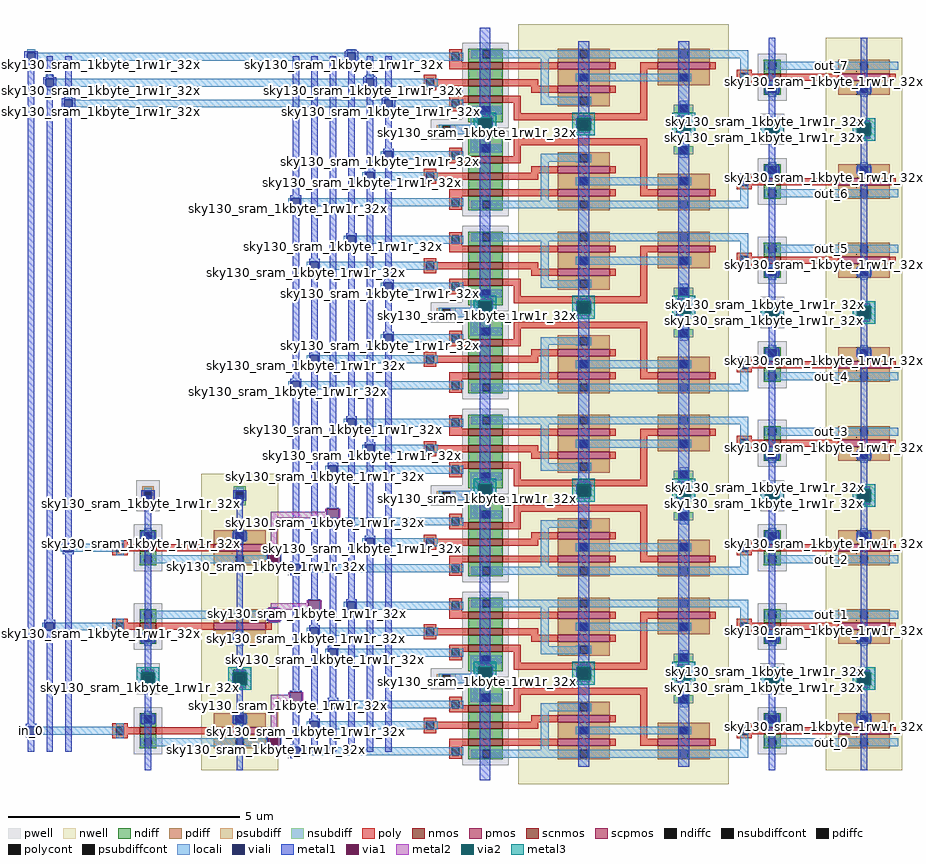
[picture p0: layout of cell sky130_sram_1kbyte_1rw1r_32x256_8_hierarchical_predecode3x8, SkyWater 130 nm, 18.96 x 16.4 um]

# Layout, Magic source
magic
tech sky130A
magscale 1 2
<< locali >>
rect 77 3096 111 3112
rect 1459 3096 1493 3112
rect 111 3062 1459 3096
rect 1493 3062 1942 3096
rect 77 3046 111 3062
rect 1459 3046 1493 3062
rect 3259 3023 3836 3057
rect 157 2984 191 3000
rect 1539 2984 1573 3000
rect 191 2950 1539 2984
rect 1573 2950 1832 2984
rect 157 2934 191 2950
rect 1539 2934 1573 2950
rect 237 2894 271 2910
rect 1619 2894 1653 2910
rect 271 2860 1619 2894
rect 1653 2860 1942 2894
rect 237 2844 271 2860
rect 1619 2844 1653 2860
rect 1603 2636 1619 2670
rect 1653 2636 1942 2670
rect 1523 2546 1539 2580
rect 1573 2546 1832 2580
rect 3259 2473 3836 2507
rect 1203 2434 1219 2468
rect 1253 2434 1942 2468
rect 1443 2272 1459 2306
rect 1493 2272 1942 2306
rect 3259 2233 3836 2267
rect 1283 2160 1299 2194
rect 1333 2160 1832 2194
rect 1603 2070 1619 2104
rect 1653 2070 1942 2104
rect 1603 1846 1619 1880
rect 1653 1846 1942 1880
rect 1283 1756 1299 1790
rect 1333 1756 1832 1790
rect 3259 1683 3836 1717
rect 1203 1644 1219 1678
rect 1253 1644 1942 1678
rect 1443 1482 1459 1516
rect 1493 1482 1942 1516
rect 3259 1443 3836 1477
rect 1523 1370 1539 1404
rect 1573 1370 1832 1404
rect 1363 1280 1379 1314
rect 1413 1280 1942 1314
rect 1363 1056 1379 1090
rect 1413 1056 1942 1090
rect 221 943 237 977
rect 271 943 494 977
rect 1523 966 1539 1000
rect 1573 966 1832 1000
rect 1125 927 1159 943
rect 3259 893 3836 927
rect 1125 877 1159 893
rect 1203 854 1219 888
rect 1253 854 1942 888
rect 1125 687 1159 703
rect 1443 692 1459 726
rect 1493 692 1942 726
rect 3259 653 3836 687
rect 1125 637 1159 653
rect 141 603 157 637
rect 191 603 494 637
rect 1283 580 1299 614
rect 1333 580 1832 614
rect 1363 490 1379 524
rect 1413 490 1942 524
rect 1363 266 1379 300
rect 1413 266 1942 300
rect 61 153 77 187
rect 111 153 494 187
rect 1283 176 1299 210
rect 1333 176 1832 210
rect 1125 137 1159 153
rect 3259 103 3836 137
rect 1125 87 1159 103
rect 1203 64 1219 98
rect 1253 64 1942 98
<< viali >>
rect 77 3062 111 3096
rect 1459 3062 1493 3096
rect 157 2950 191 2984
rect 1539 2950 1573 2984
rect 237 2860 271 2894
rect 1619 2860 1653 2894
rect 1619 2636 1653 2670
rect 1539 2546 1573 2580
rect 1219 2434 1253 2468
rect 1459 2272 1493 2306
rect 1299 2160 1333 2194
rect 1619 2070 1653 2104
rect 1619 1846 1653 1880
rect 1299 1756 1333 1790
rect 1219 1644 1253 1678
rect 1459 1482 1493 1516
rect 1539 1370 1573 1404
rect 1379 1280 1413 1314
rect 1379 1056 1413 1090
rect 237 943 271 977
rect 1539 966 1573 1000
rect 1125 893 1159 927
rect 1219 854 1253 888
rect 1459 692 1493 726
rect 1125 653 1159 687
rect 157 603 191 637
rect 1299 580 1333 614
rect 1379 490 1413 524
rect 1379 266 1413 300
rect 77 153 111 187
rect 1299 176 1333 210
rect 1125 103 1159 137
rect 1219 64 1253 98
<< metal1 >>
rect 1453 3102 1499 3108
rect 65 3096 123 3102
rect 65 3062 77 3096
rect 111 3062 123 3096
rect 1447 3096 1505 3102
rect 65 3056 123 3062
rect 80 199 108 3056
rect 160 2990 188 3080
rect 145 2984 203 2990
rect 145 2950 157 2984
rect 191 2950 203 2984
rect 145 2944 203 2950
rect 160 649 188 2944
rect 240 2900 268 3080
rect 225 2894 283 2900
rect 225 2860 237 2894
rect 271 2860 283 2894
rect 225 2854 283 2860
rect 240 989 268 2854
rect 1222 2480 1250 3080
rect 1213 2468 1259 2480
rect 1213 2434 1219 2468
rect 1253 2434 1259 2468
rect 1213 2422 1259 2434
rect 1222 1690 1250 2422
rect 1302 2206 1330 3080
rect 1293 2194 1339 2206
rect 1293 2160 1299 2194
rect 1333 2160 1339 2194
rect 1293 2148 1339 2160
rect 1302 1802 1330 2148
rect 1293 1790 1339 1802
rect 1293 1756 1299 1790
rect 1333 1756 1339 1790
rect 1293 1744 1339 1756
rect 1213 1678 1259 1690
rect 1213 1644 1219 1678
rect 1253 1644 1259 1678
rect 1213 1632 1259 1644
rect 231 977 277 989
rect 231 943 237 977
rect 271 943 277 977
rect 231 931 277 943
rect 151 637 197 649
rect 151 603 157 637
rect 191 603 197 637
rect 151 591 197 603
rect 71 187 117 199
rect 71 153 77 187
rect 111 153 117 187
rect 71 141 117 153
rect 80 80 108 141
rect 160 80 188 591
rect 240 80 268 931
rect 584 421 612 1185
rect 980 421 1008 1185
rect 1110 884 1116 936
rect 1168 884 1174 936
rect 1222 900 1250 1632
rect 1213 888 1259 900
rect 1213 854 1219 888
rect 1253 854 1259 888
rect 1213 842 1259 854
rect 1110 644 1116 696
rect 1168 644 1174 696
rect 566 369 572 421
rect 624 369 630 421
rect 962 369 968 421
rect 1020 369 1026 421
rect 584 80 612 369
rect 980 80 1008 369
rect 1222 343 1250 842
rect 1302 738 1330 1744
rect 1382 1326 1410 3080
rect 1447 3062 1459 3096
rect 1493 3062 1505 3096
rect 1447 3056 1505 3062
rect 1453 3050 1499 3056
rect 1462 2318 1490 3050
rect 1542 2996 1570 3080
rect 1533 2990 1579 2996
rect 1527 2984 1585 2990
rect 1527 2950 1539 2984
rect 1573 2950 1585 2984
rect 1527 2944 1585 2950
rect 1533 2938 1579 2944
rect 1542 2592 1570 2938
rect 1622 2906 1650 3080
rect 1613 2900 1659 2906
rect 1607 2894 1665 2900
rect 1607 2860 1619 2894
rect 1653 2860 1665 2894
rect 1607 2854 1665 2860
rect 1613 2848 1659 2854
rect 1622 2682 1650 2848
rect 2030 2814 2076 3204
rect 2454 2814 2502 3146
rect 2886 2814 2934 3146
rect 2021 2762 2027 2814
rect 2079 2762 2085 2814
rect 2446 2762 2452 2814
rect 2504 2762 2510 2814
rect 2878 2762 2884 2814
rect 2936 2762 2942 2814
rect 3278 2791 3306 3160
rect 3674 2791 3702 3160
rect 1613 2670 1659 2682
rect 1613 2636 1619 2670
rect 1653 2636 1659 2670
rect 1613 2624 1659 2636
rect 1533 2580 1579 2592
rect 1533 2546 1539 2580
rect 1573 2546 1579 2580
rect 1533 2534 1579 2546
rect 1453 2306 1499 2318
rect 1453 2272 1459 2306
rect 1493 2272 1499 2306
rect 1453 2260 1499 2272
rect 1462 1528 1490 2260
rect 1453 1516 1499 1528
rect 1453 1482 1459 1516
rect 1493 1482 1499 1516
rect 1453 1470 1499 1482
rect 1373 1314 1419 1326
rect 1373 1280 1379 1314
rect 1413 1280 1419 1314
rect 1373 1268 1419 1280
rect 1382 1133 1410 1268
rect 1370 1127 1422 1133
rect 1370 1069 1379 1075
rect 1373 1056 1379 1069
rect 1413 1069 1422 1075
rect 1413 1056 1419 1069
rect 1373 1044 1419 1056
rect 1290 732 1342 738
rect 1290 674 1342 680
rect 1302 626 1330 674
rect 1293 614 1339 626
rect 1293 580 1299 614
rect 1333 580 1339 614
rect 1293 568 1339 580
rect 1210 337 1262 343
rect 1210 279 1262 285
rect 1110 94 1116 146
rect 1168 94 1174 146
rect 1222 110 1250 279
rect 1302 222 1330 568
rect 1382 536 1410 1044
rect 1462 738 1490 1470
rect 1542 1416 1570 2534
rect 1622 2116 1650 2624
rect 1613 2104 1659 2116
rect 1613 2070 1619 2104
rect 1653 2070 1659 2104
rect 1613 2058 1659 2070
rect 1622 1892 1650 2058
rect 2030 2024 2076 2762
rect 2454 2024 2502 2762
rect 2886 2024 2934 2762
rect 3260 2739 3266 2791
rect 3318 2739 3324 2791
rect 3656 2739 3662 2791
rect 3714 2739 3720 2791
rect 2021 1972 2027 2024
rect 2079 1972 2085 2024
rect 2446 1972 2452 2024
rect 2504 1972 2510 2024
rect 2878 1972 2884 2024
rect 2936 1972 2942 2024
rect 3278 2001 3306 2739
rect 3674 2001 3702 2739
rect 1613 1880 1659 1892
rect 1613 1846 1619 1880
rect 1653 1846 1659 1880
rect 1613 1834 1659 1846
rect 1533 1404 1579 1416
rect 1533 1370 1539 1404
rect 1573 1370 1579 1404
rect 1533 1358 1579 1370
rect 1542 1012 1570 1358
rect 1533 1000 1579 1012
rect 1533 966 1539 1000
rect 1573 966 1579 1000
rect 1533 954 1579 966
rect 1453 726 1499 738
rect 1453 692 1459 726
rect 1493 692 1499 726
rect 1453 680 1499 692
rect 1373 524 1419 536
rect 1373 490 1379 524
rect 1413 490 1419 524
rect 1373 478 1419 490
rect 1382 312 1410 478
rect 1373 300 1419 312
rect 1373 266 1379 300
rect 1413 266 1419 300
rect 1373 254 1419 266
rect 1293 210 1339 222
rect 1293 176 1299 210
rect 1333 176 1339 210
rect 1293 164 1339 176
rect 1213 98 1259 110
rect 1213 64 1219 98
rect 1253 64 1259 98
rect 1302 80 1330 164
rect 1382 80 1410 254
rect 1462 80 1490 680
rect 1542 80 1570 954
rect 1622 80 1650 1834
rect 2030 1234 2076 1972
rect 2454 1234 2502 1972
rect 2886 1234 2934 1972
rect 3260 1949 3266 2001
rect 3318 1949 3324 2001
rect 3656 1949 3662 2001
rect 3714 1949 3720 2001
rect 2021 1182 2027 1234
rect 2079 1182 2085 1234
rect 2446 1182 2452 1234
rect 2504 1182 2510 1234
rect 2878 1182 2884 1234
rect 2936 1182 2942 1234
rect 3278 1211 3306 1949
rect 3674 1211 3702 1949
rect 2030 444 2076 1182
rect 2454 444 2502 1182
rect 2886 444 2934 1182
rect 3260 1159 3266 1211
rect 3318 1159 3324 1211
rect 3656 1159 3662 1211
rect 3714 1159 3720 1211
rect 2021 392 2027 444
rect 2079 392 2085 444
rect 2446 392 2452 444
rect 2504 392 2510 444
rect 2878 392 2884 444
rect 2936 392 2942 444
rect 3278 421 3306 1159
rect 3674 421 3702 1159
rect 2030 80 2076 392
rect 2454 80 2502 392
rect 2886 80 2934 392
rect 3260 369 3266 421
rect 3318 369 3324 421
rect 3656 369 3662 421
rect 3714 369 3720 421
rect 3278 80 3306 369
rect 3674 80 3702 369
rect 1213 52 1259 64
<< via1 >>
rect 1116 927 1168 936
rect 1116 893 1125 927
rect 1125 893 1159 927
rect 1159 893 1168 927
rect 1116 884 1168 893
rect 1116 687 1168 696
rect 1116 653 1125 687
rect 1125 653 1159 687
rect 1159 653 1168 687
rect 1116 644 1168 653
rect 572 369 624 421
rect 968 369 1020 421
rect 2027 2762 2079 2814
rect 2452 2762 2504 2814
rect 2884 2762 2936 2814
rect 1370 1090 1422 1127
rect 1370 1075 1379 1090
rect 1379 1075 1413 1090
rect 1413 1075 1422 1090
rect 1290 680 1342 732
rect 1210 285 1262 337
rect 1116 137 1168 146
rect 1116 103 1125 137
rect 1125 103 1159 137
rect 1159 103 1168 137
rect 1116 94 1168 103
rect 3266 2739 3318 2791
rect 3662 2739 3714 2791
rect 2027 1972 2079 2024
rect 2452 1972 2504 2024
rect 2884 1972 2936 2024
rect 3266 1949 3318 2001
rect 3662 1949 3714 2001
rect 2027 1182 2079 1234
rect 2452 1182 2504 1234
rect 2884 1182 2936 1234
rect 3266 1159 3318 1211
rect 3662 1159 3714 1211
rect 2027 392 2079 444
rect 2452 392 2504 444
rect 2884 392 2936 444
rect 3266 369 3318 421
rect 3662 369 3714 421
<< metal2 >>
rect 2025 2816 2081 2825
rect 2025 2751 2081 2760
rect 2450 2816 2506 2825
rect 2450 2751 2506 2760
rect 2882 2816 2938 2825
rect 2882 2751 2938 2760
rect 3264 2793 3320 2802
rect 3264 2728 3320 2737
rect 3660 2793 3716 2802
rect 3660 2728 3716 2737
rect 2025 2026 2081 2035
rect 2025 1961 2081 1970
rect 2450 2026 2506 2035
rect 2450 1961 2506 1970
rect 2882 2026 2938 2035
rect 2882 1961 2938 1970
rect 3264 2003 3320 2012
rect 3264 1938 3320 1947
rect 3660 2003 3716 2012
rect 3660 1938 3716 1947
rect 2025 1236 2081 1245
rect 2025 1171 2081 1180
rect 2450 1236 2506 1245
rect 2450 1171 2506 1180
rect 2882 1236 2938 1245
rect 2882 1171 2938 1180
rect 3264 1213 3320 1222
rect 3264 1148 3320 1157
rect 3660 1213 3716 1222
rect 3660 1148 3716 1157
rect 1364 1115 1370 1127
rect 1128 1087 1370 1115
rect 1128 942 1156 1087
rect 1364 1075 1370 1087
rect 1422 1075 1428 1127
rect 1116 936 1168 942
rect 1116 878 1168 884
rect 1284 720 1290 732
rect 1128 702 1290 720
rect 1116 696 1290 702
rect 1168 692 1290 696
rect 1284 680 1290 692
rect 1342 680 1348 732
rect 1116 638 1168 644
rect 2025 446 2081 455
rect 570 423 626 432
rect 570 358 626 367
rect 966 423 1022 432
rect 2025 381 2081 390
rect 2450 446 2506 455
rect 2450 381 2506 390
rect 2882 446 2938 455
rect 2882 381 2938 390
rect 3264 423 3320 432
rect 966 358 1022 367
rect 3264 358 3320 367
rect 3660 423 3716 432
rect 3660 358 3716 367
rect 1204 325 1210 337
rect 1128 297 1210 325
rect 1128 152 1156 297
rect 1204 285 1210 297
rect 1262 285 1268 337
rect 1116 146 1168 152
rect 1116 88 1168 94
<< via2 >>
rect 2025 2814 2081 2816
rect 2025 2762 2027 2814
rect 2027 2762 2079 2814
rect 2079 2762 2081 2814
rect 2025 2760 2081 2762
rect 2450 2814 2506 2816
rect 2450 2762 2452 2814
rect 2452 2762 2504 2814
rect 2504 2762 2506 2814
rect 2450 2760 2506 2762
rect 2882 2814 2938 2816
rect 2882 2762 2884 2814
rect 2884 2762 2936 2814
rect 2936 2762 2938 2814
rect 2882 2760 2938 2762
rect 3264 2791 3320 2793
rect 3264 2739 3266 2791
rect 3266 2739 3318 2791
rect 3318 2739 3320 2791
rect 3264 2737 3320 2739
rect 3660 2791 3716 2793
rect 3660 2739 3662 2791
rect 3662 2739 3714 2791
rect 3714 2739 3716 2791
rect 3660 2737 3716 2739
rect 2025 2024 2081 2026
rect 2025 1972 2027 2024
rect 2027 1972 2079 2024
rect 2079 1972 2081 2024
rect 2025 1970 2081 1972
rect 2450 2024 2506 2026
rect 2450 1972 2452 2024
rect 2452 1972 2504 2024
rect 2504 1972 2506 2024
rect 2450 1970 2506 1972
rect 2882 2024 2938 2026
rect 2882 1972 2884 2024
rect 2884 1972 2936 2024
rect 2936 1972 2938 2024
rect 2882 1970 2938 1972
rect 3264 2001 3320 2003
rect 3264 1949 3266 2001
rect 3266 1949 3318 2001
rect 3318 1949 3320 2001
rect 3264 1947 3320 1949
rect 3660 2001 3716 2003
rect 3660 1949 3662 2001
rect 3662 1949 3714 2001
rect 3714 1949 3716 2001
rect 3660 1947 3716 1949
rect 2025 1234 2081 1236
rect 2025 1182 2027 1234
rect 2027 1182 2079 1234
rect 2079 1182 2081 1234
rect 2025 1180 2081 1182
rect 2450 1234 2506 1236
rect 2450 1182 2452 1234
rect 2452 1182 2504 1234
rect 2504 1182 2506 1234
rect 2450 1180 2506 1182
rect 2882 1234 2938 1236
rect 2882 1182 2884 1234
rect 2884 1182 2936 1234
rect 2936 1182 2938 1234
rect 2882 1180 2938 1182
rect 3264 1211 3320 1213
rect 3264 1159 3266 1211
rect 3266 1159 3318 1211
rect 3318 1159 3320 1211
rect 3264 1157 3320 1159
rect 3660 1211 3716 1213
rect 3660 1159 3662 1211
rect 3662 1159 3714 1211
rect 3714 1159 3716 1211
rect 3660 1157 3716 1159
rect 2025 444 2081 446
rect 570 421 626 423
rect 570 369 572 421
rect 572 369 624 421
rect 624 369 626 421
rect 570 367 626 369
rect 966 421 1022 423
rect 966 369 968 421
rect 968 369 1020 421
rect 1020 369 1022 421
rect 2025 392 2027 444
rect 2027 392 2079 444
rect 2079 392 2081 444
rect 2025 390 2081 392
rect 2450 444 2506 446
rect 2450 392 2452 444
rect 2452 392 2504 444
rect 2504 392 2506 444
rect 2450 390 2506 392
rect 2882 444 2938 446
rect 2882 392 2884 444
rect 2884 392 2936 444
rect 2936 392 2938 444
rect 2882 390 2938 392
rect 3264 421 3320 423
rect 966 367 1022 369
rect 3264 369 3266 421
rect 3266 369 3318 421
rect 3318 369 3320 421
rect 3264 367 3320 369
rect 3660 421 3716 423
rect 3660 369 3662 421
rect 3662 369 3714 421
rect 3714 369 3716 421
rect 3660 367 3716 369
<< metal3 >>
rect 2004 2816 2102 2837
rect 2004 2760 2025 2816
rect 2081 2760 2102 2816
rect 2004 2739 2102 2760
rect 2429 2816 2527 2837
rect 2429 2760 2450 2816
rect 2506 2760 2527 2816
rect 2429 2739 2527 2760
rect 2861 2816 2959 2837
rect 2861 2760 2882 2816
rect 2938 2760 2959 2816
rect 2861 2739 2959 2760
rect 3243 2793 3341 2814
rect 3243 2737 3264 2793
rect 3320 2737 3341 2793
rect 3243 2716 3341 2737
rect 3639 2793 3737 2814
rect 3639 2737 3660 2793
rect 3716 2737 3737 2793
rect 3639 2716 3737 2737
rect 2004 2026 2102 2047
rect 2004 1970 2025 2026
rect 2081 1970 2102 2026
rect 2004 1949 2102 1970
rect 2429 2026 2527 2047
rect 2429 1970 2450 2026
rect 2506 1970 2527 2026
rect 2429 1949 2527 1970
rect 2861 2026 2959 2047
rect 2861 1970 2882 2026
rect 2938 1970 2959 2026
rect 2861 1949 2959 1970
rect 3243 2003 3341 2024
rect 3243 1947 3264 2003
rect 3320 1947 3341 2003
rect 3243 1926 3341 1947
rect 3639 2003 3737 2024
rect 3639 1947 3660 2003
rect 3716 1947 3737 2003
rect 3639 1926 3737 1947
rect 2004 1236 2102 1257
rect 2004 1180 2025 1236
rect 2081 1180 2102 1236
rect 2004 1159 2102 1180
rect 2429 1236 2527 1257
rect 2429 1180 2450 1236
rect 2506 1180 2527 1236
rect 2429 1159 2527 1180
rect 2861 1236 2959 1257
rect 2861 1180 2882 1236
rect 2938 1180 2959 1236
rect 2861 1159 2959 1180
rect 3243 1213 3341 1234
rect 3243 1157 3264 1213
rect 3320 1157 3341 1213
rect 3243 1136 3341 1157
rect 3639 1213 3737 1234
rect 3639 1157 3660 1213
rect 3716 1157 3737 1213
rect 3639 1136 3737 1157
rect 2004 446 2102 467
rect 549 423 647 444
rect 549 367 570 423
rect 626 367 647 423
rect 549 346 647 367
rect 945 423 1043 444
rect 945 367 966 423
rect 1022 367 1043 423
rect 2004 390 2025 446
rect 2081 390 2102 446
rect 2004 369 2102 390
rect 2429 446 2527 467
rect 2429 390 2450 446
rect 2506 390 2527 446
rect 2429 369 2527 390
rect 2861 446 2959 467
rect 2861 390 2882 446
rect 2938 390 2959 446
rect 2861 369 2959 390
rect 3243 423 3341 444
rect 945 346 1043 367
rect 3243 367 3264 423
rect 3320 367 3341 423
rect 3243 346 3341 367
rect 3639 423 3737 444
rect 3639 367 3660 423
rect 3716 367 3737 423
rect 3639 346 3737 367
use sky130_sram_1kbyte_1rw1r_32x256_8_contact_7  sky130_sram_1kbyte_1rw1r_32x256_8_contact_7_0
transform 1 0 3259 0 1 2728
box 0 0 1 1
use sky130_sram_1kbyte_1rw1r_32x256_8_contact_19  sky130_sram_1kbyte_1rw1r_32x256_8_contact_19_0
transform 1 0 3260 0 1 2733
box 0 0 1 1
use sky130_sram_1kbyte_1rw1r_32x256_8_contact_7  sky130_sram_1kbyte_1rw1r_32x256_8_contact_7_1
transform 1 0 2020 0 1 2751
box 0 0 1 1
use sky130_sram_1kbyte_1rw1r_32x256_8_contact_19  sky130_sram_1kbyte_1rw1r_32x256_8_contact_19_1
transform 1 0 2021 0 1 2756
box 0 0 1 1
use sky130_sram_1kbyte_1rw1r_32x256_8_contact_7  sky130_sram_1kbyte_1rw1r_32x256_8_contact_7_2
transform 1 0 3259 0 1 1938
box 0 0 1 1
use sky130_sram_1kbyte_1rw1r_32x256_8_contact_19  sky130_sram_1kbyte_1rw1r_32x256_8_contact_19_2
transform 1 0 3260 0 1 1943
box 0 0 1 1
use sky130_sram_1kbyte_1rw1r_32x256_8_contact_7  sky130_sram_1kbyte_1rw1r_32x256_8_contact_7_3
transform 1 0 2020 0 1 1961
box 0 0 1 1
use sky130_sram_1kbyte_1rw1r_32x256_8_contact_19  sky130_sram_1kbyte_1rw1r_32x256_8_contact_19_3
transform 1 0 2021 0 1 1966
box 0 0 1 1
use sky130_sram_1kbyte_1rw1r_32x256_8_contact_7  sky130_sram_1kbyte_1rw1r_32x256_8_contact_7_4
transform 1 0 3259 0 1 1148
box 0 0 1 1
use sky130_sram_1kbyte_1rw1r_32x256_8_contact_19  sky130_sram_1kbyte_1rw1r_32x256_8_contact_19_4
transform 1 0 3260 0 1 1153
box 0 0 1 1
use sky130_sram_1kbyte_1rw1r_32x256_8_contact_7  sky130_sram_1kbyte_1rw1r_32x256_8_contact_7_5
transform 1 0 2020 0 1 1171
box 0 0 1 1
use sky130_sram_1kbyte_1rw1r_32x256_8_contact_19  sky130_sram_1kbyte_1rw1r_32x256_8_contact_19_5
transform 1 0 2021 0 1 1176
box 0 0 1 1
use sky130_sram_1kbyte_1rw1r_32x256_8_contact_7  sky130_sram_1kbyte_1rw1r_32x256_8_contact_7_6
transform 1 0 3259 0 1 358
box 0 0 1 1
use sky130_sram_1kbyte_1rw1r_32x256_8_contact_19  sky130_sram_1kbyte_1rw1r_32x256_8_contact_19_6
transform 1 0 3260 0 1 363
box 0 0 1 1
use sky130_sram_1kbyte_1rw1r_32x256_8_contact_7  sky130_sram_1kbyte_1rw1r_32x256_8_contact_7_7
transform 1 0 2020 0 1 381
box 0 0 1 1
use sky130_sram_1kbyte_1rw1r_32x256_8_contact_19  sky130_sram_1kbyte_1rw1r_32x256_8_contact_19_7
transform 1 0 2021 0 1 386
box 0 0 1 1
use sky130_sram_1kbyte_1rw1r_32x256_8_contact_7  sky130_sram_1kbyte_1rw1r_32x256_8_contact_7_8
transform 1 0 565 0 1 358
box 0 0 1 1
use sky130_sram_1kbyte_1rw1r_32x256_8_contact_19  sky130_sram_1kbyte_1rw1r_32x256_8_contact_19_8
transform 1 0 566 0 1 363
box 0 0 1 1
use sky130_sram_1kbyte_1rw1r_32x256_8_contact_7  sky130_sram_1kbyte_1rw1r_32x256_8_contact_7_9
transform 1 0 2877 0 1 2751
box 0 0 1 1
use sky130_sram_1kbyte_1rw1r_32x256_8_contact_19  sky130_sram_1kbyte_1rw1r_32x256_8_contact_19_9
transform 1 0 2878 0 1 2756
box 0 0 1 1
use sky130_sram_1kbyte_1rw1r_32x256_8_contact_7  sky130_sram_1kbyte_1rw1r_32x256_8_contact_7_10
transform 1 0 3655 0 1 2728
box 0 0 1 1
use sky130_sram_1kbyte_1rw1r_32x256_8_contact_19  sky130_sram_1kbyte_1rw1r_32x256_8_contact_19_10
transform 1 0 3656 0 1 2733
box 0 0 1 1
use sky130_sram_1kbyte_1rw1r_32x256_8_contact_7  sky130_sram_1kbyte_1rw1r_32x256_8_contact_7_11
transform 1 0 2445 0 1 2751
box 0 0 1 1
use sky130_sram_1kbyte_1rw1r_32x256_8_contact_19  sky130_sram_1kbyte_1rw1r_32x256_8_contact_19_11
transform 1 0 2446 0 1 2756
box 0 0 1 1
use sky130_sram_1kbyte_1rw1r_32x256_8_contact_7  sky130_sram_1kbyte_1rw1r_32x256_8_contact_7_12
transform 1 0 2877 0 1 1961
box 0 0 1 1
use sky130_sram_1kbyte_1rw1r_32x256_8_contact_19  sky130_sram_1kbyte_1rw1r_32x256_8_contact_19_12
transform 1 0 2878 0 1 1966
box 0 0 1 1
use sky130_sram_1kbyte_1rw1r_32x256_8_contact_7  sky130_sram_1kbyte_1rw1r_32x256_8_contact_7_13
transform 1 0 3655 0 1 1938
box 0 0 1 1
use sky130_sram_1kbyte_1rw1r_32x256_8_contact_19  sky130_sram_1kbyte_1rw1r_32x256_8_contact_19_13
transform 1 0 3656 0 1 1943
box 0 0 1 1
use sky130_sram_1kbyte_1rw1r_32x256_8_contact_7  sky130_sram_1kbyte_1rw1r_32x256_8_contact_7_14
transform 1 0 2445 0 1 1961
box 0 0 1 1
use sky130_sram_1kbyte_1rw1r_32x256_8_contact_19  sky130_sram_1kbyte_1rw1r_32x256_8_contact_19_14
transform 1 0 2446 0 1 1966
box 0 0 1 1
use sky130_sram_1kbyte_1rw1r_32x256_8_contact_7  sky130_sram_1kbyte_1rw1r_32x256_8_contact_7_15
transform 1 0 2877 0 1 1171
box 0 0 1 1
use sky130_sram_1kbyte_1rw1r_32x256_8_contact_19  sky130_sram_1kbyte_1rw1r_32x256_8_contact_19_15
transform 1 0 2878 0 1 1176
box 0 0 1 1
use sky130_sram_1kbyte_1rw1r_32x256_8_contact_7  sky130_sram_1kbyte_1rw1r_32x256_8_contact_7_16
transform 1 0 3655 0 1 1148
box 0 0 1 1
use sky130_sram_1kbyte_1rw1r_32x256_8_contact_19  sky130_sram_1kbyte_1rw1r_32x256_8_contact_19_16
transform 1 0 3656 0 1 1153
box 0 0 1 1
use sky130_sram_1kbyte_1rw1r_32x256_8_contact_7  sky130_sram_1kbyte_1rw1r_32x256_8_contact_7_17
transform 1 0 2445 0 1 1171
box 0 0 1 1
use sky130_sram_1kbyte_1rw1r_32x256_8_contact_19  sky130_sram_1kbyte_1rw1r_32x256_8_contact_19_17
transform 1 0 2446 0 1 1176
box 0 0 1 1
use sky130_sram_1kbyte_1rw1r_32x256_8_contact_7  sky130_sram_1kbyte_1rw1r_32x256_8_contact_7_18
transform 1 0 2877 0 1 381
box 0 0 1 1
use sky130_sram_1kbyte_1rw1r_32x256_8_contact_19  sky130_sram_1kbyte_1rw1r_32x256_8_contact_19_18
transform 1 0 2878 0 1 386
box 0 0 1 1
use sky130_sram_1kbyte_1rw1r_32x256_8_contact_7  sky130_sram_1kbyte_1rw1r_32x256_8_contact_7_19
transform 1 0 3655 0 1 358
box 0 0 1 1
use sky130_sram_1kbyte_1rw1r_32x256_8_contact_19  sky130_sram_1kbyte_1rw1r_32x256_8_contact_19_19
transform 1 0 3656 0 1 363
box 0 0 1 1
use sky130_sram_1kbyte_1rw1r_32x256_8_contact_7  sky130_sram_1kbyte_1rw1r_32x256_8_contact_7_20
transform 1 0 2445 0 1 381
box 0 0 1 1
use sky130_sram_1kbyte_1rw1r_32x256_8_contact_19  sky130_sram_1kbyte_1rw1r_32x256_8_contact_19_20
transform 1 0 2446 0 1 386
box 0 0 1 1
use sky130_sram_1kbyte_1rw1r_32x256_8_contact_7  sky130_sram_1kbyte_1rw1r_32x256_8_contact_7_21
transform 1 0 961 0 1 358
box 0 0 1 1
use sky130_sram_1kbyte_1rw1r_32x256_8_contact_19  sky130_sram_1kbyte_1rw1r_32x256_8_contact_19_21
transform 1 0 962 0 1 363
box 0 0 1 1
use sky130_sram_1kbyte_1rw1r_32x256_8_contact_14  sky130_sram_1kbyte_1rw1r_32x256_8_contact_14_0
transform 1 0 1607 0 1 2844
box 0 0 1 1
use sky130_sram_1kbyte_1rw1r_32x256_8_contact_14  sky130_sram_1kbyte_1rw1r_32x256_8_contact_14_1
transform 1 0 225 0 1 2844
box 0 0 1 1
use sky130_sram_1kbyte_1rw1r_32x256_8_contact_14  sky130_sram_1kbyte_1rw1r_32x256_8_contact_14_2
transform 1 0 1527 0 1 2934
box 0 0 1 1
use sky130_sram_1kbyte_1rw1r_32x256_8_contact_14  sky130_sram_1kbyte_1rw1r_32x256_8_contact_14_3
transform 1 0 145 0 1 2934
box 0 0 1 1
use sky130_sram_1kbyte_1rw1r_32x256_8_contact_14  sky130_sram_1kbyte_1rw1r_32x256_8_contact_14_4
transform 1 0 1447 0 1 3046
box 0 0 1 1
use sky130_sram_1kbyte_1rw1r_32x256_8_contact_14  sky130_sram_1kbyte_1rw1r_32x256_8_contact_14_5
transform 1 0 65 0 1 3046
box 0 0 1 1
use sky130_sram_1kbyte_1rw1r_32x256_8_contact_20  sky130_sram_1kbyte_1rw1r_32x256_8_contact_20_0
transform 1 0 1364 0 1 1069
box 0 0 1 1
use sky130_sram_1kbyte_1rw1r_32x256_8_contact_19  sky130_sram_1kbyte_1rw1r_32x256_8_contact_19_22
transform 1 0 1110 0 1 878
box 0 0 1 1
use sky130_sram_1kbyte_1rw1r_32x256_8_contact_14  sky130_sram_1kbyte_1rw1r_32x256_8_contact_14_6
transform 1 0 1113 0 1 877
box 0 0 1 1
use sky130_sram_1kbyte_1rw1r_32x256_8_contact_20  sky130_sram_1kbyte_1rw1r_32x256_8_contact_20_1
transform 1 0 1284 0 1 674
box 0 0 1 1
use sky130_sram_1kbyte_1rw1r_32x256_8_contact_19  sky130_sram_1kbyte_1rw1r_32x256_8_contact_19_23
transform 1 0 1110 0 1 638
box 0 0 1 1
use sky130_sram_1kbyte_1rw1r_32x256_8_contact_14  sky130_sram_1kbyte_1rw1r_32x256_8_contact_14_7
transform 1 0 1113 0 1 637
box 0 0 1 1
use sky130_sram_1kbyte_1rw1r_32x256_8_contact_20  sky130_sram_1kbyte_1rw1r_32x256_8_contact_20_2
transform 1 0 1204 0 1 279
box 0 0 1 1
use sky130_sram_1kbyte_1rw1r_32x256_8_contact_19  sky130_sram_1kbyte_1rw1r_32x256_8_contact_19_24
transform 1 0 1110 0 1 88
box 0 0 1 1
use sky130_sram_1kbyte_1rw1r_32x256_8_contact_14  sky130_sram_1kbyte_1rw1r_32x256_8_contact_14_8
transform 1 0 1113 0 1 87
box 0 0 1 1
use sky130_sram_1kbyte_1rw1r_32x256_8_contact_17  sky130_sram_1kbyte_1rw1r_32x256_8_contact_17_0
transform 1 0 1603 0 1 2848
box 0 0 1 1
use sky130_sram_1kbyte_1rw1r_32x256_8_contact_17  sky130_sram_1kbyte_1rw1r_32x256_8_contact_17_1
transform 1 0 1523 0 1 2938
box 0 0 1 1
use sky130_sram_1kbyte_1rw1r_32x256_8_contact_17  sky130_sram_1kbyte_1rw1r_32x256_8_contact_17_2
transform 1 0 1443 0 1 3050
box 0 0 1 1
use sky130_sram_1kbyte_1rw1r_32x256_8_contact_17  sky130_sram_1kbyte_1rw1r_32x256_8_contact_17_3
transform 1 0 1603 0 1 2624
box 0 0 1 1
use sky130_sram_1kbyte_1rw1r_32x256_8_contact_17  sky130_sram_1kbyte_1rw1r_32x256_8_contact_17_4
transform 1 0 1523 0 1 2534
box 0 0 1 1
use sky130_sram_1kbyte_1rw1r_32x256_8_contact_17  sky130_sram_1kbyte_1rw1r_32x256_8_contact_17_5
transform 1 0 1203 0 1 2422
box 0 0 1 1
use sky130_sram_1kbyte_1rw1r_32x256_8_contact_17  sky130_sram_1kbyte_1rw1r_32x256_8_contact_17_6
transform 1 0 1603 0 1 2058
box 0 0 1 1
use sky130_sram_1kbyte_1rw1r_32x256_8_contact_17  sky130_sram_1kbyte_1rw1r_32x256_8_contact_17_7
transform 1 0 1283 0 1 2148
box 0 0 1 1
use sky130_sram_1kbyte_1rw1r_32x256_8_contact_17  sky130_sram_1kbyte_1rw1r_32x256_8_contact_17_8
transform 1 0 1443 0 1 2260
box 0 0 1 1
use sky130_sram_1kbyte_1rw1r_32x256_8_contact_17  sky130_sram_1kbyte_1rw1r_32x256_8_contact_17_9
transform 1 0 1603 0 1 1834
box 0 0 1 1
use sky130_sram_1kbyte_1rw1r_32x256_8_contact_17  sky130_sram_1kbyte_1rw1r_32x256_8_contact_17_10
transform 1 0 1283 0 1 1744
box 0 0 1 1
use sky130_sram_1kbyte_1rw1r_32x256_8_contact_17  sky130_sram_1kbyte_1rw1r_32x256_8_contact_17_11
transform 1 0 1203 0 1 1632
box 0 0 1 1
use sky130_sram_1kbyte_1rw1r_32x256_8_contact_17  sky130_sram_1kbyte_1rw1r_32x256_8_contact_17_12
transform 1 0 1363 0 1 1268
box 0 0 1 1
use sky130_sram_1kbyte_1rw1r_32x256_8_contact_17  sky130_sram_1kbyte_1rw1r_32x256_8_contact_17_13
transform 1 0 1523 0 1 1358
box 0 0 1 1
use sky130_sram_1kbyte_1rw1r_32x256_8_contact_17  sky130_sram_1kbyte_1rw1r_32x256_8_contact_17_14
transform 1 0 1443 0 1 1470
box 0 0 1 1
use sky130_sram_1kbyte_1rw1r_32x256_8_contact_17  sky130_sram_1kbyte_1rw1r_32x256_8_contact_17_15
transform 1 0 1363 0 1 1044
box 0 0 1 1
use sky130_sram_1kbyte_1rw1r_32x256_8_contact_17  sky130_sram_1kbyte_1rw1r_32x256_8_contact_17_16
transform 1 0 1523 0 1 954
box 0 0 1 1
use sky130_sram_1kbyte_1rw1r_32x256_8_contact_17  sky130_sram_1kbyte_1rw1r_32x256_8_contact_17_17
transform 1 0 1203 0 1 842
box 0 0 1 1
use sky130_sram_1kbyte_1rw1r_32x256_8_contact_17  sky130_sram_1kbyte_1rw1r_32x256_8_contact_17_18
transform 1 0 1363 0 1 478
box 0 0 1 1
use sky130_sram_1kbyte_1rw1r_32x256_8_contact_17  sky130_sram_1kbyte_1rw1r_32x256_8_contact_17_19
transform 1 0 1283 0 1 568
box 0 0 1 1
use sky130_sram_1kbyte_1rw1r_32x256_8_contact_17  sky130_sram_1kbyte_1rw1r_32x256_8_contact_17_20
transform 1 0 1443 0 1 680
box 0 0 1 1
use sky130_sram_1kbyte_1rw1r_32x256_8_contact_17  sky130_sram_1kbyte_1rw1r_32x256_8_contact_17_21
transform 1 0 1363 0 1 254
box 0 0 1 1
use sky130_sram_1kbyte_1rw1r_32x256_8_contact_17  sky130_sram_1kbyte_1rw1r_32x256_8_contact_17_22
transform 1 0 1283 0 1 164
box 0 0 1 1
use sky130_sram_1kbyte_1rw1r_32x256_8_contact_17  sky130_sram_1kbyte_1rw1r_32x256_8_contact_17_23
transform 1 0 1203 0 1 52
box 0 0 1 1
use sky130_sram_1kbyte_1rw1r_32x256_8_contact_17  sky130_sram_1kbyte_1rw1r_32x256_8_contact_17_24
transform 1 0 221 0 1 931
box 0 0 1 1
use sky130_sram_1kbyte_1rw1r_32x256_8_contact_17  sky130_sram_1kbyte_1rw1r_32x256_8_contact_17_25
transform 1 0 141 0 1 591
box 0 0 1 1
use sky130_sram_1kbyte_1rw1r_32x256_8_contact_17  sky130_sram_1kbyte_1rw1r_32x256_8_contact_17_26
transform 1 0 61 0 1 141
box 0 0 1 1
use sky130_sram_1kbyte_1rw1r_32x256_8_and3_dec  sky130_sram_1kbyte_1rw1r_32x256_8_and3_dec_0
transform 1 0 1782 0 -1 3160
box 0 -60 2072 490
use sky130_sram_1kbyte_1rw1r_32x256_8_and3_dec  sky130_sram_1kbyte_1rw1r_32x256_8_and3_dec_1
transform 1 0 1782 0 1 2370
box 0 -60 2072 490
use sky130_sram_1kbyte_1rw1r_32x256_8_and3_dec  sky130_sram_1kbyte_1rw1r_32x256_8_and3_dec_2
transform 1 0 1782 0 -1 2370
box 0 -60 2072 490
use sky130_sram_1kbyte_1rw1r_32x256_8_and3_dec  sky130_sram_1kbyte_1rw1r_32x256_8_and3_dec_3
transform 1 0 1782 0 1 1580
box 0 -60 2072 490
use sky130_sram_1kbyte_1rw1r_32x256_8_and3_dec  sky130_sram_1kbyte_1rw1r_32x256_8_and3_dec_4
transform 1 0 1782 0 -1 1580
box 0 -60 2072 490
use sky130_sram_1kbyte_1rw1r_32x256_8_and3_dec  sky130_sram_1kbyte_1rw1r_32x256_8_and3_dec_5
transform 1 0 1782 0 1 790
box 0 -60 2072 490
use sky130_sram_1kbyte_1rw1r_32x256_8_and3_dec  sky130_sram_1kbyte_1rw1r_32x256_8_and3_dec_6
transform 1 0 1782 0 -1 790
box 0 -60 2072 490
use sky130_sram_1kbyte_1rw1r_32x256_8_and3_dec  sky130_sram_1kbyte_1rw1r_32x256_8_and3_dec_7
transform 1 0 1782 0 1 0
box 0 -60 2072 490
use sky130_sram_1kbyte_1rw1r_32x256_8_pinv_dec  sky130_sram_1kbyte_1rw1r_32x256_8_pinv_dec_0
transform 1 0 400 0 1 790
box 44 0 760 490
use sky130_sram_1kbyte_1rw1r_32x256_8_pinv_dec  sky130_sram_1kbyte_1rw1r_32x256_8_pinv_dec_1
transform 1 0 400 0 -1 790
box 44 0 760 490
use sky130_sram_1kbyte_1rw1r_32x256_8_pinv_dec  sky130_sram_1kbyte_1rw1r_32x256_8_pinv_dec_2
transform 1 0 400 0 1 0
box 44 0 760 490
<< labels >>
rlabel metal3 s 3639 1136 3737 1234 4 vdd
port 1 nsew
rlabel metal3 s 2861 2739 2959 2837 4 vdd
port 1 nsew
rlabel metal3 s 3639 2716 3737 2814 4 vdd
port 1 nsew
rlabel metal3 s 2861 1949 2959 2047 4 vdd
port 1 nsew
rlabel metal3 s 2429 1949 2527 2047 4 vdd
port 1 nsew
rlabel metal3 s 3639 1926 3737 2024 4 vdd
port 1 nsew
rlabel metal3 s 945 346 1043 444 4 vdd
port 1 nsew
rlabel metal3 s 2429 1159 2527 1257 4 vdd
port 1 nsew
rlabel metal3 s 2429 369 2527 467 4 vdd
port 1 nsew
rlabel metal3 s 2861 369 2959 467 4 vdd
port 1 nsew
rlabel metal3 s 3639 346 3737 444 4 vdd
port 1 nsew
rlabel metal3 s 2861 1159 2959 1257 4 vdd
port 1 nsew
rlabel metal3 s 2429 2739 2527 2837 4 vdd
port 1 nsew
rlabel metal3 s 2004 1159 2102 1257 4 gnd
port 2 nsew
rlabel metal3 s 2004 1949 2102 2047 4 gnd
port 2 nsew
rlabel metal3 s 2004 2739 2102 2837 4 gnd
port 2 nsew
rlabel metal3 s 3243 2716 3341 2814 4 gnd
port 2 nsew
rlabel metal3 s 549 346 647 444 4 gnd
port 2 nsew
rlabel metal3 s 3243 1926 3341 2024 4 gnd
port 2 nsew
rlabel metal3 s 3243 1136 3341 1234 4 gnd
port 2 nsew
rlabel metal3 s 2004 369 2102 467 4 gnd
port 2 nsew
rlabel metal3 s 3243 346 3341 444 4 gnd
port 2 nsew
rlabel metal1 s 71 141 117 199 4 in_0
port 3 nsew
rlabel metal1 s 151 591 197 649 4 in_1
port 4 nsew
rlabel metal1 s 231 931 277 989 4 in_2
port 5 nsew
rlabel locali s 3547 120 3547 120 4 out_0
port 6 nsew
rlabel locali s 3547 670 3547 670 4 out_1
port 7 nsew
rlabel locali s 3547 910 3547 910 4 out_2
port 8 nsew
rlabel locali s 3547 1460 3547 1460 4 out_3
port 9 nsew
rlabel locali s 3547 1700 3547 1700 4 out_4
port 10 nsew
rlabel locali s 3547 2250 3547 2250 4 out_5
port 11 nsew
rlabel locali s 3547 2490 3547 2490 4 out_6
port 12 nsew
rlabel locali s 3547 3040 3547 3040 4 out_7
port 13 nsew
<< properties >>
string FIXED_BBOX 0 0 3836 3160
string GDS_FILE $PDKPATH/libs.ref/sky130_sram_macros/gds/sky130_sram_1kbyte_1rw1r_32x256_8.gds
string GDS_END 205330
string GDS_START 185948
<< end >>

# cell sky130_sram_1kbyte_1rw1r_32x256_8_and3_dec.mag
magic
tech sky130A
magscale 1 2
<< locali >>
rect 110 266 176 300
rect 0 176 66 210
rect 110 64 176 98
rect 1372 88 1406 170
rect 1477 103 2054 137
rect 767 54 1406 88
<< metal1 >>
rect 248 -44 294 418
rect 672 14 720 418
rect 1104 14 1152 418
rect 1496 0 1524 395
rect 1892 0 1920 395
use sky130_sram_1kbyte_1rw1r_32x256_8_pinv_dec  sky130_sram_1kbyte_1rw1r_32x256_8_pinv_dec_0
transform 1 0 1312 0 1 0
box 44 0 760 490
use sky130_fd_bd_sram__openram_dp_nand3_dec_1  sky130_fd_bd_sram__openram_dp_nand3_dec_0
transform 1 0 0 0 1 0
box 0 -60 1322 474
<< labels >>
rlabel metal1 s 672 14 720 418 4 vdd
port 1 nsew
rlabel metal1 s 1892 0 1920 395 4 vdd
port 1 nsew
rlabel metal1 s 1104 14 1152 418 4 vdd
port 1 nsew
rlabel metal1 s 248 -44 294 418 4 gnd
port 2 nsew
rlabel metal1 s 1496 0 1524 395 4 gnd
port 2 nsew
rlabel locali s 1765 120 1765 120 4 Z
port 3 nsew
rlabel locali s 143 81 143 81 4 A
port 4 nsew
rlabel locali s 33 193 33 193 4 B
port 5 nsew
rlabel locali s 143 283 143 283 4 C
port 6 nsew
<< properties >>
string FIXED_BBOX 0 0 2054 395
string GDS_FILE $PDKPATH/libs.ref/sky130_sram_macros/gds/sky130_sram_1kbyte_1rw1r_32x256_8.gds
string GDS_END 60864
string GDS_START 59096
<< end >>

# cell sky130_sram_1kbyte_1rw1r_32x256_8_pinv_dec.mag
magic
tech sky130A
magscale 1 2
<< nwell >>
rect 428 0 760 490
<< pwell >>
rect 147 328 249 462
<< psubdiff >>
rect 173 412 223 436
rect 173 378 181 412
rect 215 378 223 412
rect 173 354 223 378
<< nsubdiff >>
rect 569 412 619 436
rect 569 378 577 412
rect 611 378 619 412
rect 569 354 619 378
<< psubdiffcont >>
rect 181 378 215 412
<< nsubdiffcont >>
rect 577 378 611 412
<< poly >>
rect 44 187 110 203
rect 44 153 60 187
rect 94 185 110 187
rect 94 155 136 185
rect 260 155 456 185
rect 94 153 110 155
rect 44 137 110 153
<< polycont >>
rect 60 153 94 187
<< locali >>
rect 181 412 215 428
rect 181 362 215 378
rect 577 412 611 428
rect 577 362 611 378
rect 181 237 215 253
rect 60 187 94 203
rect 181 187 215 203
rect 577 237 611 253
rect 577 187 611 203
rect 60 137 94 153
rect 165 103 742 137
<< viali >>
rect 181 378 215 412
rect 577 378 611 412
rect 181 203 215 237
rect 577 203 611 237
<< metal1 >>
rect 169 412 227 418
rect 169 378 181 412
rect 215 378 227 412
rect 169 372 227 378
rect 565 412 623 418
rect 565 378 577 412
rect 611 378 623 412
rect 565 372 623 378
rect 184 243 212 372
rect 580 243 608 372
rect 169 237 227 243
rect 169 203 181 237
rect 215 203 227 237
rect 169 197 227 203
rect 565 237 623 243
rect 565 203 577 237
rect 611 203 623 237
rect 565 197 623 203
rect 184 0 212 197
rect 580 0 608 197
use sky130_sram_1kbyte_1rw1r_32x256_8_contact_14  sky130_sram_1kbyte_1rw1r_32x256_8_contact_14_0
transform 1 0 565 0 1 187
box 0 0 1 1
use sky130_sram_1kbyte_1rw1r_32x256_8_contact_14  sky130_sram_1kbyte_1rw1r_32x256_8_contact_14_1
transform 1 0 169 0 1 187
box 0 0 1 1
use sky130_sram_1kbyte_1rw1r_32x256_8_contact_16  sky130_sram_1kbyte_1rw1r_32x256_8_contact_16_0
transform 1 0 44 0 1 137
box 0 0 1 1
use sky130_sram_1kbyte_1rw1r_32x256_8_contact_14  sky130_sram_1kbyte_1rw1r_32x256_8_contact_14_2
transform 1 0 169 0 1 362
box 0 0 1 1
use sky130_sram_1kbyte_1rw1r_32x256_8_contact_15  sky130_sram_1kbyte_1rw1r_32x256_8_contact_15_0
transform 1 0 173 0 1 354
box 0 0 1 1
use sky130_sram_1kbyte_1rw1r_32x256_8_contact_14  sky130_sram_1kbyte_1rw1r_32x256_8_contact_14_3
transform 1 0 565 0 1 362
box 0 0 1 1
use sky130_sram_1kbyte_1rw1r_32x256_8_contact_13  sky130_sram_1kbyte_1rw1r_32x256_8_contact_13_0
transform 1 0 569 0 1 354
box 0 0 1 1
use sky130_sram_1kbyte_1rw1r_32x256_8_nmos_m1_w0_360_sli_dli_da_p  sky130_sram_1kbyte_1rw1r_32x256_8_nmos_m1_w0_360_sli_dli_da_p_0
transform 0 1 162 -1 0 245
box -26 -26 176 98
use sky130_sram_1kbyte_1rw1r_32x256_8_pmos_m1_w1_120_sli_dli_da_p  sky130_sram_1kbyte_1rw1r_32x256_8_pmos_m1_w1_120_sli_dli_da_p_0
transform 0 1 482 -1 0 245
box -59 -54 209 278
<< labels >>
rlabel metal1 s 184 0 212 395 4 gnd
port 1 nsew
rlabel metal1 s 580 0 608 395 4 vdd
port 2 nsew
rlabel locali s 77 170 77 170 4 A
port 3 nsew
rlabel locali s 453 120 453 120 4 Z
port 4 nsew
<< properties >>
string FIXED_BBOX 0 0 742 395
string GDS_FILE $PDKPATH/libs.ref/sky130_sram_macros/gds/sky130_sram_1kbyte_1rw1r_32x256_8.gds
string GDS_END 21488
string GDS_START 19618
<< end >>

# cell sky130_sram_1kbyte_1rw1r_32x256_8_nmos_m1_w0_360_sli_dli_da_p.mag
magic
tech sky130A
magscale 1 2
<< pwell >>
rect -26 -26 176 98
<< scnmos >>
rect 60 0 90 72
<< ndiff >>
rect 0 53 60 72
rect 0 19 8 53
rect 42 19 60 53
rect 0 0 60 19
rect 90 53 150 72
rect 90 19 108 53
rect 142 19 150 53
rect 90 0 150 19
<< ndiffc >>
rect 8 19 42 53
rect 108 19 142 53
<< poly >>
rect 60 72 90 98
rect 60 -26 90 0
<< locali >>
rect 8 53 42 69
rect 8 3 42 19
rect 108 53 142 69
rect 108 3 142 19
use sky130_sram_1kbyte_1rw1r_32x256_8_contact_11  sky130_sram_1kbyte_1rw1r_32x256_8_contact_11_0
transform 1 0 100 0 1 3
box 0 0 1 1
use sky130_sram_1kbyte_1rw1r_32x256_8_contact_11  sky130_sram_1kbyte_1rw1r_32x256_8_contact_11_1
transform 1 0 0 0 1 3
box 0 0 1 1
<< labels >>
rlabel locali s 25 36 25 36 4 S
port 1 nsew
rlabel locali s 125 36 125 36 4 D
port 2 nsew
rlabel poly s 75 36 75 36 4 G
port 3 nsew
<< properties >>
string FIXED_BBOX -25 -26 175 98
string GDS_FILE $PDKPATH/libs.ref/sky130_sram_macros/gds/sky130_sram_1kbyte_1rw1r_32x256_8.gds
string GDS_END 1950
string GDS_START 1154
<< end >>

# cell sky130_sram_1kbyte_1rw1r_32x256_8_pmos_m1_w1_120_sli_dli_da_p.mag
magic
tech sky130A
magscale 1 2
<< nwell >>
rect -54 196 204 278
rect -59 28 209 196
rect -54 -54 204 28
<< scpmos >>
rect 60 0 90 224
<< pdiff >>
rect 0 129 60 224
rect 0 95 8 129
rect 42 95 60 129
rect 0 0 60 95
rect 90 129 150 224
rect 90 95 108 129
rect 142 95 150 129
rect 90 0 150 95
<< pdiffc >>
rect 8 95 42 129
rect 108 95 142 129
<< poly >>
rect 60 224 90 250
rect 60 -26 90 0
<< locali >>
rect 8 129 42 145
rect 8 79 42 95
rect 108 129 142 145
rect 108 79 142 95
use sky130_sram_1kbyte_1rw1r_32x256_8_contact_12  sky130_sram_1kbyte_1rw1r_32x256_8_contact_12_0
transform 1 0 100 0 1 79
box 0 0 1 1
use sky130_sram_1kbyte_1rw1r_32x256_8_contact_12  sky130_sram_1kbyte_1rw1r_32x256_8_contact_12_1
transform 1 0 0 0 1 79
box 0 0 1 1
<< labels >>
rlabel locali s 25 112 25 112 4 S
port 1 nsew
rlabel locali s 125 112 125 112 4 D
port 2 nsew
rlabel poly s 75 112 75 112 4 G
port 3 nsew
<< properties >>
string FIXED_BBOX -54 -54 204 28
string GDS_FILE $PDKPATH/libs.ref/sky130_sram_macros/gds/sky130_sram_1kbyte_1rw1r_32x256_8.gds
string GDS_END 2904
string GDS_START 2044
<< end >>

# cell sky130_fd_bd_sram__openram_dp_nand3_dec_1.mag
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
